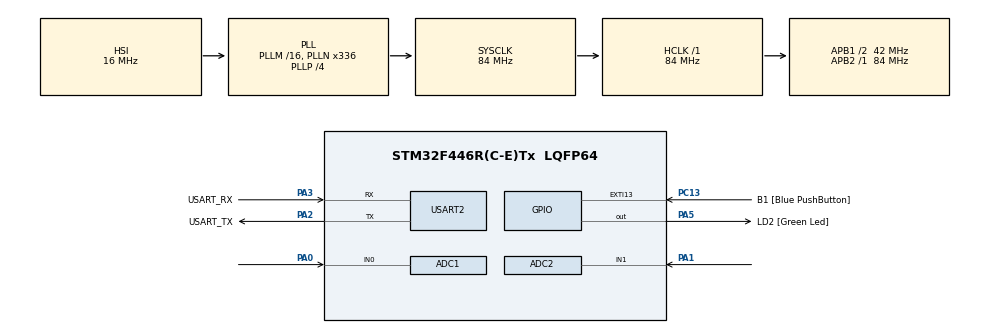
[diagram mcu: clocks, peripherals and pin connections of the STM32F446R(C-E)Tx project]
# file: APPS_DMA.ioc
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ADC1.Channel-0\#ChannelRegularConversion=ADC_CHANNEL_0
ADC1.ContinuousConvMode=ENABLE
ADC1.DMAContinuousRequests=ENABLE
ADC1.NbrOfConversionFlag=1
ADC1.Rank-0\#ChannelRegularConversion=1
ADC1.SamplingTime-0\#ChannelRegularConversion=ADC_SAMPLETIME_3CYCLES
ADC1.master=1
ADC2.Channel-0\#ChannelRegularConversion=ADC_CHANNEL_1
ADC2.ContinuousConvMode=ENABLE
ADC2.DMAContinuousRequests=ENABLE
ADC2.NbrOfConversionFlag=1
ADC2.Rank-0\#ChannelRegularConversion=1
ADC2.SamplingTime-0\#ChannelRegularConversion=ADC_SAMPLETIME_3CYCLES
Dma.ADC1.0.Direction=DMA_PERIPH_TO_MEMORY
Dma.ADC1.0.FIFOMode=DMA_FIFOMODE_DISABLE
Dma.ADC1.0.Instance=DMA2_Stream0
Dma.ADC1.0.MemDataAlignment=DMA_MDATAALIGN_HALFWORD
Dma.ADC1.0.MemInc=DMA_MINC_ENABLE
Dma.ADC1.0.Mode=DMA_CIRCULAR
Dma.ADC1.0.PeriphDataAlignment=DMA_PDATAALIGN_HALFWORD
Dma.ADC1.0.PeriphInc=DMA_PINC_DISABLE
Dma.ADC1.0.Priority=DMA_PRIORITY_LOW
Dma.ADC2.1.Direction=DMA_PERIPH_TO_MEMORY
Dma.ADC2.1.FIFOMode=DMA_FIFOMODE_DISABLE
Dma.ADC2.1.Instance=DMA2_Stream2
Dma.ADC2.1.MemDataAlignment=DMA_MDATAALIGN_HALFWORD
Dma.ADC2.1.MemInc=DMA_MINC_ENABLE
Dma.ADC2.1.Mode=DMA_CIRCULAR
Dma.ADC2.1.PeriphDataAlignment=DMA_PDATAALIGN_HALFWORD
Dma.ADC2.1.PeriphInc=DMA_PINC_DISABLE
Dma.ADC2.1.Priority=DMA_PRIORITY_LOW
Dma.Request0=ADC1
Dma.Request1=ADC2
FREERTOS.Tasks01=Pot1,24,128,pot1,Default,NULL,Dynamic,NULL,NULL;Pot2,32,128,pot2,Default,NULL,Dynamic,NULL,NULL
FREERTOS.configUSE_NEWLIB_REENTRANT=1
Mcu.Family=STM32F4
Mcu.Name=STM32F446R(C-E)Tx
Mcu.Package=LQFP64
NVIC.DMA2_Stream0_IRQn=true\:5\:0\:false\:false\:true\:true\:false\:true\:true
NVIC.DMA2_Stream2_IRQn=true\:5\:0\:false\:false\:true\:true\:false\:true\:true
NVIC.PriorityGroup=NVIC_PRIORITYGROUP_4
NVIC.TIM6_DAC_IRQn=true\:15\:0\:false\:false\:true\:false\:false\:true\:true
NVIC.TimeBase=TIM6_DAC_IRQn
NVIC.TimeBaseIP=TIM6
PA0-WKUP.Signal=ADCx_IN0
PA1.Signal=ADCx_IN1
PA13.GPIO_Label=TMS
PA13.Mode=Serial_Wire
PA13.Signal=SYS_JTMS-SWDIO
PA14.GPIO_Label=TCK
PA14.Mode=Serial_Wire
PA14.Signal=SYS_JTCK-SWCLK
PA2.GPIO_Label=USART_TX
PA2.Mode=Asynchronous
PA2.Signal=USART2_TX
PA3.GPIO_Label=USART_RX
PA3.Mode=Asynchronous
PA3.Signal=USART2_RX
PA5.GPIO_Label=LD2 [Green Led]
PA5.Signal=GPIO_Output
PB3.GPIO_Label=SWO
PB3.Signal=SYS_JTDO-SWO
PC13.GPIO_Label=B1 [Blue PushButton]
PC13.GPIO_ModeDefaultEXTI=GPIO_MODE_IT_FALLING
PC13.Signal=GPXTI13
PC14-OSC32_IN.Mode=LSE-External-Oscillator
PC14-OSC32_IN.Signal=RCC_OSC32_IN
PC15-OSC32_OUT.Mode=LSE-External-Oscillator
PC15-OSC32_OUT.Signal=RCC_OSC32_OUT
PH0-OSC_IN.Mode=HSE-External-Oscillator
PH0-OSC_IN.Signal=RCC_OSC_IN
PH1-OSC_OUT.Mode=HSE-External-Oscillator
PH1-OSC_OUT.Signal=RCC_OSC_OUT
ProjectManager.HeapSize=0x200
ProjectManager.StackSize=0x400
ProjectManager.TargetToolchain=STM32CubeIDE
RCC.48MHZClocksFreq_Value=84000000
RCC.AHBFreq_Value=84000000
RCC.APB1CLKDivider=RCC_HCLK_DIV2
RCC.APB1Freq_Value=42000000
RCC.APB1TimFreq_Value=84000000
RCC.APB2Freq_Value=84000000
RCC.APB2TimFreq_Value=84000000
RCC.CortexFreq_Value=84000000
RCC.FLatency-AdvancedSettings=FLASH_LATENCY_2
RCC.HCLKFreq_Value=84000000
RCC.HSE_VALUE=8000000
RCC.HSI_VALUE=16000000
RCC.PLLN=336
RCC.PLLP=RCC_PLLP_DIV4
RCC.SYSCLKFreq_VALUE=84000000
RCC.SYSCLKSource=RCC_SYSCLKSOURCE_PLLCLK
RCC.USBFreq_Value=168000000
RCC.VCOOutputFreq_Value=336000000
SH.ADCx_IN0.0=ADC1_IN0,IN0
SH.ADCx_IN1.0=ADC2_IN1,IN1
USART2.VirtualMode=VM_ASYNC
VP_FREERTOS_VS_CMSIS_V2.Mode=CMSIS_V2
VP_SYS_VS_tim6.Mode=TIM6
board=NUCLEO-F446RE

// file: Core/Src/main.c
/* USER CODE BEGIN Header */
/**
  ******************************************************************************
  * @file           : main.c
  * @brief          : Main program body
  ******************************************************************************
  * @attention
  *
  * Copyright (c) 2024 STMicroelectronics.
  * All rights reserved.
  *
  * This software is licensed under terms that can be found in the LICENSE file
  * in the root directory of this software component.
  * If no LICENSE file comes with this software, it is provided AS-IS.
  *
  ******************************************************************************
  */
/* USER CODE END Header */
#include "main.h"
#include "cmsis_os.h"

/* USER CODE BEGIN Includes */
#include "apps.h"
#include <string.h>
#include <stdio.h>
#include <stdlib.h>
#include <stdbool.h>
/* USER CODE END Includes */

/* USER CODE BEGIN PD */
#define ADC_BUF_LEN 4096
/* USER CODE END PD */

ADC_HandleTypeDef hadc1;
ADC_HandleTypeDef hadc2;
DMA_HandleTypeDef hdma_adc1;
DMA_HandleTypeDef hdma_adc2;

UART_HandleTypeDef huart2;

/* Definitions for Pot1 */
osThreadId_t Pot1Handle;
const osThreadAttr_t Pot1_attributes = {
  .name = "Pot1",
  .stack_size = 128 * 4,
  .priority = (osPriority_t) osPriorityNormal,
};
/* Definitions for Pot2 */
osThreadId_t Pot2Handle;
const osThreadAttr_t Pot2_attributes = {
  .name = "Pot2",
  .stack_size = 128 * 4,
  .priority = (osPriority_t) osPriorityAboveNormal,
};
/* USER CODE BEGIN PV */

uint16_t adc_buf[ADC_BUF_LEN]; // buffer to store values read from pot1
uint16_t adc_buf2[ADC_BUF_LEN]; // buffer to store values read from pot2
char msg[30]; // to print msg on terminal
uint16_t raw1; // pot1 value
uint16_t raw2; // pot2 value
char* ret_val;

osTimerId_t differenceTimerHandle;  // timer to keep track of how long the APPS has a difference greater than 10%
bool shutdown_active = false;  // Flag to indicate shutdown state

/* USER CODE END PV */

void SystemClock_Config(void);
static void MX_GPIO_Init(void);
static void MX_DMA_Init(void);
static void MX_USART2_UART_Init(void);
static void MX_ADC1_Init(void);
static void MX_ADC2_Init(void);
void pot1(void *argument);
void pot2(void *argument);

int main(void)
{

  /* MCU Configuration--------------------------------------------------------*/

  /* Reset of all peripherals, Initializes the Flash interface and the Systick. */
  HAL_Init();

  /* Configure the system clock */
  SystemClock_Config();

  /* Initialize all configured peripherals */
  MX_GPIO_Init();
  MX_DMA_Init();
  MX_USART2_UART_Init();
  MX_ADC1_Init();
  MX_ADC2_Init();
  /* USER CODE BEGIN 2 */
  const osTimerAttr_t differenceTimer_attributes = {
      .name = "differenceTimer"
  };

  // Create the timer with a periodic interval
  // 'differenceTimerHandle' is the timer's handle, used to start/stop the timer
  // 'DifferenceTimerCallback' is the function that will be called periodically
  differenceTimerHandle = osTimerNew(DifferenceTimerCallback, osTimerPeriodic, NULL, &differenceTimer_attributes);

  HAL_ADC_Start_DMA(&hadc1, (uint32_t*)adc_buf, ADC_BUF_LEN);
  HAL_ADC_Start_DMA(&hadc2, (uint32_t*)adc_buf2, ADC_BUF_LEN);

  /* USER CODE END 2 */

  /* Init scheduler */
  osKernelInitialize();

  /* Create the thread(s) */
  /* creation of Pot1 */
  Pot1Handle = osThreadNew(pot1, NULL, &Pot1_attributes);

  /* creation of Pot2 */
  Pot2Handle = osThreadNew(pot2, NULL, &Pot2_attributes);

  /* Start scheduler */
  osKernelStart();

  /* We should never get here as control is now taken by the scheduler */
  /* Infinite loop */
  while (1)
  {

  }
}

void SystemClock_Config(void)
{
  RCC_OscInitTypeDef RCC_OscInitStruct = {0};
  RCC_ClkInitTypeDef RCC_ClkInitStruct = {0};

  /** Configure the main internal regulator output voltage
  */
  __HAL_RCC_PWR_CLK_ENABLE();
  __HAL_PWR_VOLTAGESCALING_CONFIG(PWR_REGULATOR_VOLTAGE_SCALE3);

  /** Initializes the RCC Oscillators according to the specified parameters
  * in the RCC_OscInitTypeDef structure.
  */
  RCC_OscInitStruct.OscillatorType = RCC_OSCILLATORTYPE_HSI;
  RCC_OscInitStruct.HSIState = RCC_HSI_ON;
  RCC_OscInitStruct.HSICalibrationValue = RCC_HSICALIBRATION_DEFAULT;
  RCC_OscInitStruct.PLL.PLLState = RCC_PLL_ON;
  RCC_OscInitStruct.PLL.PLLSource = RCC_PLLSOURCE_HSI;
  RCC_OscInitStruct.PLL.PLLM = 16;
  RCC_OscInitStruct.PLL.PLLN = 336;
  RCC_OscInitStruct.PLL.PLLP = RCC_PLLP_DIV4;
  RCC_OscInitStruct.PLL.PLLQ = 2;
  RCC_OscInitStruct.PLL.PLLR = 2;
  if (HAL_RCC_OscConfig(&RCC_OscInitStruct) != HAL_OK)
  {
    Error_Handler();
  }

  /** Initializes the CPU, AHB and APB buses clocks
  */
  RCC_ClkInitStruct.ClockType = RCC_CLOCKTYPE_HCLK|RCC_CLOCKTYPE_SYSCLK
                              |RCC_CLOCKTYPE_PCLK1|RCC_CLOCKTYPE_PCLK2;
  RCC_ClkInitStruct.SYSCLKSource = RCC_SYSCLKSOURCE_PLLCLK;
  RCC_ClkInitStruct.AHBCLKDivider = RCC_SYSCLK_DIV1;
  RCC_ClkInitStruct.APB1CLKDivider = RCC_HCLK_DIV2;
  RCC_ClkInitStruct.APB2CLKDivider = RCC_HCLK_DIV1;

  if (HAL_RCC_ClockConfig(&RCC_ClkInitStruct, FLASH_LATENCY_2) != HAL_OK)
  {
    Error_Handler();
  }
}

static void MX_ADC1_Init(void)
{

  ADC_ChannelConfTypeDef sConfig = {0};

  /** Configure the global features of the ADC (Clock, Resolution, Data Alignment and number of conversion)
  */
  hadc1.Instance = ADC1;
  hadc1.Init.ClockPrescaler = ADC_CLOCK_SYNC_PCLK_DIV4;
  hadc1.Init.Resolution = ADC_RESOLUTION_12B;
  hadc1.Init.ScanConvMode = DISABLE;
  hadc1.Init.ContinuousConvMode = ENABLE;
  hadc1.Init.DiscontinuousConvMode = DISABLE;
  hadc1.Init.ExternalTrigConvEdge = ADC_EXTERNALTRIGCONVEDGE_NONE;
  hadc1.Init.ExternalTrigConv = ADC_SOFTWARE_START;
  hadc1.Init.DataAlign = ADC_DATAALIGN_RIGHT;
  hadc1.Init.NbrOfConversion = 1;
  hadc1.Init.DMAContinuousRequests = ENABLE;
  hadc1.Init.EOCSelection = ADC_EOC_SINGLE_CONV;
  if (HAL_ADC_Init(&hadc1) != HAL_OK)
  {
    Error_Handler();
  }

  /** Configure for the selected ADC regular channel its corresponding rank in the sequencer and its sample time.
  */
  sConfig.Channel = ADC_CHANNEL_0;
  sConfig.Rank = 1;
  sConfig.SamplingTime = ADC_SAMPLETIME_3CYCLES;
  if (HAL_ADC_ConfigChannel(&hadc1, &sConfig) != HAL_OK)
  {
    Error_Handler();
  }

}

static void MX_ADC2_Init(void)
{

  ADC_ChannelConfTypeDef sConfig = {0};

  /** Configure the global features of the ADC (Clock, Resolution, Data Alignment and number of conversion)
  */
  hadc2.Instance = ADC2;
  hadc2.Init.ClockPrescaler = ADC_CLOCK_SYNC_PCLK_DIV4;
  hadc2.Init.Resolution = ADC_RESOLUTION_12B;
  hadc2.Init.ScanConvMode = DISABLE;
  hadc2.Init.ContinuousConvMode = ENABLE;
  hadc2.Init.DiscontinuousConvMode = DISABLE;
  hadc2.Init.ExternalTrigConvEdge = ADC_EXTERNALTRIGCONVEDGE_NONE;
  hadc2.Init.ExternalTrigConv = ADC_SOFTWARE_START;
  hadc2.Init.DataAlign = ADC_DATAALIGN_RIGHT;
  hadc2.Init.NbrOfConversion = 1;
  hadc2.Init.DMAContinuousRequests = ENABLE;
  hadc2.Init.EOCSelection = ADC_EOC_SINGLE_CONV;
  if (HAL_ADC_Init(&hadc2) != HAL_OK)
  {
    Error_Handler();
  }

  /** Configure for the selected ADC regular channel its corresponding rank in the sequencer and its sample time.
  */
  sConfig.Channel = ADC_CHANNEL_1;
  sConfig.Rank = 1;
  sConfig.SamplingTime = ADC_SAMPLETIME_3CYCLES;
  if (HAL_ADC_ConfigChannel(&hadc2, &sConfig) != HAL_OK)
  {
    Error_Handler();
  }

}

static void MX_USART2_UART_Init(void)
{

  huart2.Instance = USART2;
  huart2.Init.BaudRate = 9600;
  huart2.Init.WordLength = UART_WORDLENGTH_8B;
  huart2.Init.StopBits = UART_STOPBITS_1;
  huart2.Init.Parity = UART_PARITY_NONE;
  huart2.Init.Mode = UART_MODE_TX_RX;
  huart2.Init.HwFlowCtl = UART_HWCONTROL_NONE;
  huart2.Init.OverSampling = UART_OVERSAMPLING_16;
  if (HAL_UART_Init(&huart2) != HAL_OK)
  {
    Error_Handler();
  }

}

static void MX_DMA_Init(void)
{

  /* DMA controller clock enable */
  __HAL_RCC_DMA2_CLK_ENABLE();

  /* DMA interrupt init */
  /* DMA2_Stream0_IRQn interrupt configuration */
  HAL_NVIC_SetPriority(DMA2_Stream0_IRQn, 5, 0);
  HAL_NVIC_EnableIRQ(DMA2_Stream0_IRQn);
  /* DMA2_Stream2_IRQn interrupt configuration */
  HAL_NVIC_SetPriority(DMA2_Stream2_IRQn, 5, 0);
  HAL_NVIC_EnableIRQ(DMA2_Stream2_IRQn);

}

static void MX_GPIO_Init(void)
{
  GPIO_InitTypeDef GPIO_InitStruct = {0};

  /* GPIO Ports Clock Enable */
  __HAL_RCC_GPIOC_CLK_ENABLE();
  __HAL_RCC_GPIOH_CLK_ENABLE();
  __HAL_RCC_GPIOA_CLK_ENABLE();
  __HAL_RCC_GPIOB_CLK_ENABLE();

  /*Configure GPIO pin Output Level */
  HAL_GPIO_WritePin(LD2_GPIO_Port, LD2_Pin, GPIO_PIN_RESET);

  /*Configure GPIO pin : B1_Pin */
  GPIO_InitStruct.Pin = B1_Pin;
  GPIO_InitStruct.Mode = GPIO_MODE_IT_FALLING;
  GPIO_InitStruct.Pull = GPIO_NOPULL;
  HAL_GPIO_Init(B1_GPIO_Port, &GPIO_InitStruct);

  /*Configure GPIO pin : LD2_Pin */
  GPIO_InitStruct.Pin = LD2_Pin;
  GPIO_InitStruct.Mode = GPIO_MODE_OUTPUT_PP;
  GPIO_InitStruct.Pull = GPIO_NOPULL;
  GPIO_InitStruct.Speed = GPIO_SPEED_FREQ_LOW;
  HAL_GPIO_Init(LD2_GPIO_Port, &GPIO_InitStruct);

}

/* USER CODE BEGIN 4 */

//called when first half of buffer is filled

void HAL_ADC_ConvHalfCpltCallback(ADC_HandleTypeDef* hadc){

	//HAL_GPIO_WritePin(LD2_GPIO_Port, LD2_Pin, GPIO_PIN_SET);

}

// called when buffer is completely filled

void HAL_ADC_ConvCpltCallback(ADC_HandleTypeDef* hadc){

	//HAL_GPIO_WritePin(LD2_GPIO_Port, LD2_Pin, GPIO_PIN_RESET);

}

char* APPS_read_verify(void)
{

	    // normal conditions
		ret_val  = "APPS_OKAY";

		// if > 10% start time to check if it has passed certain time -> if yes call shutdown circuit
		if (abs(raw1 - raw2) >= 10) {
	        ret_val = "APPS_NOT_OKAY";

	        //########################################################
	        // CHANGE THE TIMER TO 500 ms it's currently set at 1000ms
	        //########################################################
	        // Start the timer if the difference condition is met and the timer is not already running
		     if (osTimerIsRunning(differenceTimerHandle) == 0) {
		    	 osTimerStart(differenceTimerHandle, 1000);
		     }
	    } else {
		       // Stop the timer if the difference condition is not met and the timer is running
	        if (osTimerIsRunning(differenceTimerHandle) == 1) {
	            osTimerStop(differenceTimerHandle);
		    }
	    }

		//other conditions

		if (raw1 > 91){
			ret_val = "APPS1_GND_NOT_OKAY";
		}
		if (raw2 > 91){
			ret_val = "APPS2_GND_NOT_OKAY";
		}

		if (raw1 > 91 && raw2 > 91){
			ret_val = "BOTH_APPS_GND_NOT_OKAY";
		}

		if (raw1 < 9){
			ret_val = "APPS1_VCC_NOT_OKAY";
		}

		if (raw2 < 9){
			ret_val = "APPS2_VCC_NOT_OKAY";
		}

		if (raw1 < 9 && raw2 < 9){
			ret_val = "BOTH_APPS_VCC_NOT_OKAY";
		}

		return ret_val;
}

uint16_t calculate_average(uint16_t* buffer, size_t length) {
    uint32_t sum = 0;
    for (size_t i = 0; i < length; i++) {
        sum += buffer[i];
    }
    return (uint16_t)(sum / length);  // Return the average value
}

void DifferenceTimerCallback(void *argument)
{
    // Code to execute every time the timer expires (e.g., every 1000 ms)
    // Here we simply print a message, but you could increment a counter
    // or perform any other periodic task while the condition is met.
	shutdown_active = true;
	//ret_val = "Shutdown circuit !!!";
	while(1){
		HAL_GPIO_TogglePin(GPIOA, GPIO_PIN_5);
		osDelay(50);
	}

}

/* USER CODE END 4 */

void pot1(void *argument)
{
  /* USER CODE BEGIN 5 */

	  /* Infinite loop */
	for(;;)
	  {

		//HAL_ADC_Start(&hadc1);
		//HAL_ADC_PollForConversion(&hadc1, HAL_MAX_DELAY);

		//DMA gets the ADC values - we are displaying what's in the address

		raw1 = calculate_average(adc_buf, ADC_BUF_LEN) * (100.0 / 4095.0);

		//read value
		//sprintf(msg, "%hu\r\n", raw1);
		//HAL_UART_Transmit(&huart2, (uint8_t*)msg, strlen(msg), HAL_MAX_DELAY);
		osDelay(1);

	  }
  /* USER CODE END 5 */
}

void pot2(void *argument)
{
  /* USER CODE BEGIN pot2 */
  /* Infinite loop */
  for(;;)
  {
	  if (!shutdown_active) {
	      // Process normally when shutdown is not active
	      raw2 = calculate_average(adc_buf2, ADC_BUF_LEN) * (100.0 / 4095.0);
	      ret_val = APPS_read_verify();

	      // Format and send the message to the terminal
	      sprintf(msg, "%hu, %hu, %s\r\n", raw1, raw2, ret_val);
	      HAL_UART_Transmit(&huart2, (uint8_t*)msg, strlen(msg), HAL_MAX_DELAY);

	      osDelay(1);  // Small delay to avoid spamming
	  } else {
	      // If shutdown is active, only send the shutdown message
	      sprintf(msg, "Shutdown circuit !!!\r\n");
	      HAL_UART_Transmit(&huart2, (uint8_t*)msg, strlen(msg), HAL_MAX_DELAY);

	      // Longer delay for shutdown message to avoid spamming
	      osDelay(1000);
	  }
  }
  /* USER CODE END pot2 */
}

void HAL_TIM_PeriodElapsedCallback(TIM_HandleTypeDef *htim)
{
  if (htim->Instance == TIM6) {
    HAL_IncTick();
  }
}

void Error_Handler(void)
{
  __disable_irq();
  while (1)
  {
  }
}
